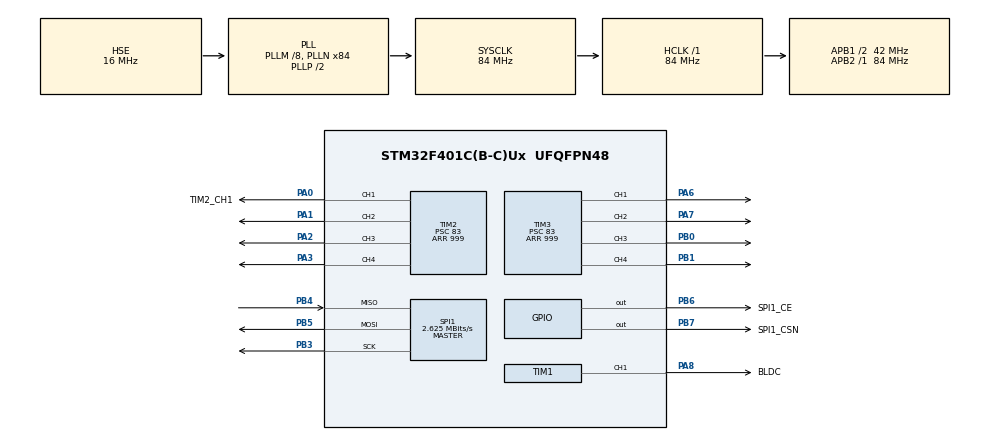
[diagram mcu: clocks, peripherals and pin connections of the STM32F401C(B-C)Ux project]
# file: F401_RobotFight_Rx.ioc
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Mcu.Family=STM32F4
Mcu.Name=STM32F401C(B-C)Ux
Mcu.Package=UFQFPN48
NVIC.PriorityGroup=NVIC_PRIORITYGROUP_4
PA0-WKUP.GPIO_Label=TIM2_CH1
PA0-WKUP.Signal=S_TIM2_CH1_ETR
PA1.Signal=S_TIM2_CH2
PA13.Mode=Serial_Wire
PA13.Signal=SYS_JTMS-SWDIO
PA14.Mode=Serial_Wire
PA14.Signal=SYS_JTCK-SWCLK
PA2.Signal=S_TIM2_CH3
PA3.Signal=S_TIM2_CH4
PA6.Signal=S_TIM3_CH1
PA7.Signal=S_TIM3_CH2
PA8.GPIO_Label=BLDC
PA8.Signal=S_TIM1_CH1
PB0.Signal=S_TIM3_CH3
PB1.Signal=S_TIM3_CH4
PB3.Mode=Full_Duplex_Master
PB3.Signal=SPI1_SCK
PB4.Mode=Full_Duplex_Master
PB4.Signal=SPI1_MISO
PB5.Mode=Full_Duplex_Master
PB5.Signal=SPI1_MOSI
PB6.GPIO_Label=SPI1_CE
PB6.Signal=GPIO_Output
PB7.GPIO_Label=SPI1_CSN
PB7.Signal=GPIO_Output
PH0\ -\ OSC_IN.Mode=HSE-External-Oscillator
PH0\ -\ OSC_IN.Signal=RCC_OSC_IN
PH1\ -\ OSC_OUT.Mode=HSE-External-Oscillator
PH1\ -\ OSC_OUT.Signal=RCC_OSC_OUT
ProjectManager.HeapSize=0x200
ProjectManager.StackSize=0x400
ProjectManager.TargetToolchain=STM32CubeIDE
RCC.48MHZClocksFreq_Value=42000000
RCC.AHBFreq_Value=84000000
RCC.APB1CLKDivider=RCC_HCLK_DIV2
RCC.APB1Freq_Value=42000000
RCC.APB1TimFreq_Value=84000000
RCC.APB2Freq_Value=84000000
RCC.APB2TimFreq_Value=84000000
RCC.CortexFreq_Value=84000000
RCC.HCLKFreq_Value=84000000
RCC.HSE_VALUE=16000000
RCC.HSI_VALUE=16000000
RCC.LSE_VALUE=32768
RCC.PLLM=8
RCC.PLLN=84
RCC.PLLSourceVirtual=RCC_PLLSOURCE_HSE
RCC.SYSCLKFreq_VALUE=84000000
RCC.SYSCLKSource=RCC_SYSCLKSOURCE_PLLCLK
RCC.VCOOutputFreq_Value=168000000
SH.S_TIM1_CH1.0=TIM1_CH1,PWM Generation1 CH1
SH.S_TIM2_CH1_ETR.0=TIM2_CH1,PWM Generation1 CH1
SH.S_TIM2_CH2.0=TIM2_CH2,PWM Generation2 CH2
SH.S_TIM2_CH3.0=TIM2_CH3,PWM Generation3 CH3
SH.S_TIM2_CH4.0=TIM2_CH4,PWM Generation4 CH4
SH.S_TIM3_CH1.0=TIM3_CH1,PWM Generation1 CH1
SH.S_TIM3_CH2.0=TIM3_CH2,PWM Generation2 CH2
SH.S_TIM3_CH3.0=TIM3_CH3,PWM Generation3 CH3
SH.S_TIM3_CH4.0=TIM3_CH4,PWM Generation4 CH4
SPI1.BaudRatePrescaler=SPI_BAUDRATEPRESCALER_32
SPI1.CalculateBaudRate=2.625 MBits/s
SPI1.DataSize=SPI_DATASIZE_8BIT
SPI1.Direction=SPI_DIRECTION_2LINES
SPI1.Mode=SPI_MODE_MASTER
SPI1.VirtualType=VM_MASTER
TIM1.AutoReloadPreload=TIM_AUTORELOAD_PRELOAD_ENABLE
TIM1.Channel-PWM\ Generation1\ CH1=TIM_CHANNEL_1
TIM1.Period=2000
TIM1.Prescaler=83
TIM2.AutoReloadPreload=TIM_AUTORELOAD_PRELOAD_ENABLE
TIM2.Channel-PWM\ Generation1\ CH1=TIM_CHANNEL_1
TIM2.Channel-PWM\ Generation2\ CH2=TIM_CHANNEL_2
TIM2.Channel-PWM\ Generation3\ CH3=TIM_CHANNEL_3
TIM2.Channel-PWM\ Generation4\ CH4=TIM_CHANNEL_4
TIM2.Period=999
TIM2.Prescaler=83
TIM3.AutoReloadPreload=TIM_AUTORELOAD_PRELOAD_ENABLE
TIM3.Channel-PWM\ Generation1\ CH1=TIM_CHANNEL_1
TIM3.Channel-PWM\ Generation2\ CH2=TIM_CHANNEL_2
TIM3.Channel-PWM\ Generation3\ CH3=TIM_CHANNEL_3
TIM3.Channel-PWM\ Generation4\ CH4=TIM_CHANNEL_4
TIM3.Period=999
TIM3.Prescaler=83
VP_TIM1_VS_ClockSourceINT.Mode=Internal
board=custom

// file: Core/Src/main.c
/* USER CODE BEGIN Header */
/**
 ******************************************************************************
 * @file           : main.c
 * @brief          : Main program body
 ******************************************************************************
 * @attention
 *
 * Copyright (c) 2024 STMicroelectronics.
 * All rights reserved.
 *
 * This software is licensed under terms that can be found in the LICENSE file
 * in the root directory of this software component.
 * If no LICENSE file comes with this software, it is provided AS-IS.
 *
 ******************************************************************************
 */
/* USER CODE END Header */
#include "main.h"
#include "spi.h"
#include "tim.h"
#include "gpio.h"

/* USER CODE BEGIN Includes */

	#include "NRF24L01.h"
	#include "math.h"

/* USER CODE END Includes */

/* USER CODE BEGIN PM */

	uint8_t Rxaddr[5] = {'I','T','C','0','1'};
	uint8_t RxData[8];
	uint32_t lastTime = 0;

	float M1, M2, V;
	float Vx, Vy, VX, VY, Omega;
	uint8_t speed1;
	uint8_t speed2;
	int speed;

/* USER CODE END PM */

void SystemClock_Config(void);
/* USER CODE BEGIN PFP */

double map(double x, double in_min, double in_max, double out_min,
		double out_max) {
	return (x - in_min) * (out_max - out_min) / (in_max - in_min) + out_min;
}

void reset_data(void) {
	RxData[0] = 128; //x1
	RxData[1] = 128; //y1
	RxData[2] = 128; //x2
	RxData[3] = 0; //y2
	RxData[4] = 128; //y2
	RxData[5] = 128; //y2
	RxData[6] = 0; //y2
	RxData[7] = 0; //y2
}

/* USER CODE END PFP */

int main(void)
{

  /* MCU Configuration--------------------------------------------------------*/

  /* Reset of all peripherals, Initializes the Flash interface and the Systick. */
  HAL_Init();

  /* Configure the system clock */
  SystemClock_Config();

  /* Initialize all configured peripherals */
  MX_GPIO_Init();
  MX_SPI1_Init();
  MX_TIM2_Init();
  MX_TIM1_Init();
  MX_TIM3_Init();
  /* USER CODE BEGIN 2 */

		NRF24_Init();
		NRF24_RxMode(Rxaddr, 112, 8); //NRF24_TxMode(Address, channel, payload_size)
		RxData[0] = 128; //x1
		RxData[1] = 128; //y1
		RxData[2] = 128; //x2
		RxData[3] = 0; //y2
		RxData[4] = 128; //y2
		RxData[5] = 128; //y2
		RxData[6] = 0; //y2
		RxData[7] = 0; //y2

	/* TIMER WHEEL */

		HAL_TIM_PWM_Start(&htim2, TIM_CHANNEL_1);
		HAL_TIM_PWM_Start(&htim2, TIM_CHANNEL_2);
		HAL_TIM_PWM_Start(&htim2, TIM_CHANNEL_3);
		HAL_TIM_PWM_Start(&htim2, TIM_CHANNEL_4);

	/* TIMER SHORTER */

		HAL_TIM_PWM_Start(&htim3, TIM_CHANNEL_1);
		HAL_TIM_PWM_Start(&htim3, TIM_CHANNEL_2);
		HAL_TIM_PWM_Start(&htim3, TIM_CHANNEL_3);
		HAL_TIM_PWM_Start(&htim3, TIM_CHANNEL_4);

	/* TIMER BLDC */

		HAL_TIM_PWM_Start(&htim1, TIM_CHANNEL_1);

  /* USER CODE END 2 */

  /* Infinite loop */
	while (1) {

    /* USER CODE BEGIN 3 */

		if (DataReady(1) > 0) {
			NRF24_Receive(RxData, 8);
			lastTime = HAL_GetTick();
		}
		if ((HAL_GetTick() - lastTime > 10)) {
			reset_data();
		}

		/* MAPPING */

			Vx 	  = map(RxData[0], 0, 256, -999, 999);
			Omega = map(RxData[1], 0, 256, 999, -999);
			VX    = map(RxData[3], 0, 256, 1000, 2000);
			VY    = map(RxData[2], 0, 256, -999, 999);

		/* SPEED MOTOR */

			M1 = (Vx + Omega);
			M2 = (Vx - Omega);

			if (M1 > 999){
				M1 = 999;
			}
			if (M1 < -999){
				M1 = -999;
			}
			if (M1 < 999 && M1 > -999){
				M1 = M1;
			}

			if (M2 > 999){
				M2 = 999;
			}
			if (M2 < -999){
				M2 = -999;
			}
			if (M2 < 999 && M2 > -999){
				M2 = M2;
			}

		/* MOTOR1 */

			if (M1 > 0 && M1 <= 999){
				TIM2->CCR1 = M1;
				TIM2->CCR2 = 0;
			}
			if (M1 == 0){
				TIM2->CCR1 = 0;
				TIM2->CCR2 = 0;
			}
			if (M1 < 0 && M1 >= -999){
				TIM2->CCR1 = 0;
				TIM2->CCR2 = (-1) *M1;
			}

		/* MOTOR2 */

			if (M2 > 0 && M2 <= 999){
				TIM2->CCR3 = M2;
				TIM2->CCR4 = 0;
			}
			if (M2 == 0){
				TIM2->CCR3 = 0;
				TIM2->CCR4 = 0;
			}
			if (M2 < 0 && M2 >= -999){
				TIM2->CCR3 = 0;
				TIM2->CCR4 = (-1) *M2;
			}

		/* SHORTER */

			speed1 = RxData[4];
			speed2 = RxData[5];
			speed = speed1 - speed2;
			if (speed > 0 )
			{
				TIM3->CCR1 = speed*300;
				TIM3->CCR2 = 0;
			}
			else if (speed < 0)
			{

				TIM3->CCR1 = 0;
				TIM3->CCR2 = -1*speed*300;
			}
			else if (speed == 0)
			{

				TIM3->CCR1 = 0;
				TIM3->CCR2 = 0;
			}

		/* BLDC */

			TIM1->CCR1 = VX;

	}
  /* USER CODE END 3 */
}

void SystemClock_Config(void)
{
  RCC_OscInitTypeDef RCC_OscInitStruct = {0};
  RCC_ClkInitTypeDef RCC_ClkInitStruct = {0};

  /** Configure the main internal regulator output voltage
  */
  __HAL_RCC_PWR_CLK_ENABLE();
  __HAL_PWR_VOLTAGESCALING_CONFIG(PWR_REGULATOR_VOLTAGE_SCALE2);

  /** Initializes the RCC Oscillators according to the specified parameters
  * in the RCC_OscInitTypeDef structure.
  */
  RCC_OscInitStruct.OscillatorType = RCC_OSCILLATORTYPE_HSE;
  RCC_OscInitStruct.HSEState = RCC_HSE_ON;
  RCC_OscInitStruct.PLL.PLLState = RCC_PLL_ON;
  RCC_OscInitStruct.PLL.PLLSource = RCC_PLLSOURCE_HSE;
  RCC_OscInitStruct.PLL.PLLM = 8;
  RCC_OscInitStruct.PLL.PLLN = 84;
  RCC_OscInitStruct.PLL.PLLP = RCC_PLLP_DIV2;
  RCC_OscInitStruct.PLL.PLLQ = 4;
  if (HAL_RCC_OscConfig(&RCC_OscInitStruct) != HAL_OK)
  {
    Error_Handler();
  }

  /** Initializes the CPU, AHB and APB buses clocks
  */
  RCC_ClkInitStruct.ClockType = RCC_CLOCKTYPE_HCLK|RCC_CLOCKTYPE_SYSCLK
                              |RCC_CLOCKTYPE_PCLK1|RCC_CLOCKTYPE_PCLK2;
  RCC_ClkInitStruct.SYSCLKSource = RCC_SYSCLKSOURCE_PLLCLK;
  RCC_ClkInitStruct.AHBCLKDivider = RCC_SYSCLK_DIV1;
  RCC_ClkInitStruct.APB1CLKDivider = RCC_HCLK_DIV2;
  RCC_ClkInitStruct.APB2CLKDivider = RCC_HCLK_DIV1;

  if (HAL_RCC_ClockConfig(&RCC_ClkInitStruct, FLASH_LATENCY_2) != HAL_OK)
  {
    Error_Handler();
  }
}

void Error_Handler(void)
{
	__disable_irq();
	while (1) {
	}
}
